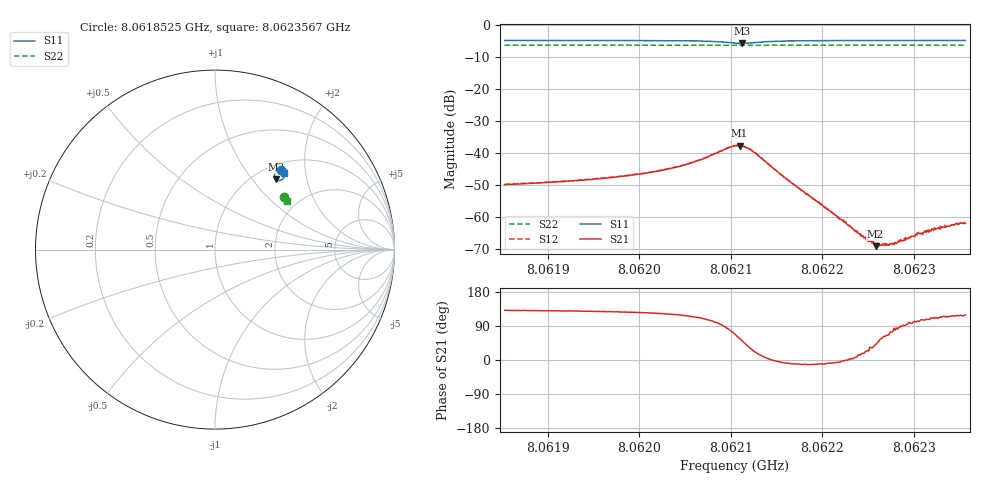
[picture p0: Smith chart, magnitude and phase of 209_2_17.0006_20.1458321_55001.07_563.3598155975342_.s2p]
#  HZ  S  RI  R  50.00
! Rohde & Schwarz Vector Network Analyzer
! Rohde-Schwarz,ZNB20-2Port,1311601062101988,3.16
! Created: UTC 3/20/2024, 11:01:23 PM
! freq[Hz]  re:S11  im:S11  re:S21  im:S21  re:S12  im:S12  re:S22  im:S22
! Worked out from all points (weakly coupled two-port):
!   401 points, 8.0618525 GHz to 8.0623567 GHz, reference 50 ohm
!   highest |S21| = -37.65 dB at 8.0621096 GHz (marker M1); lowest = -69.0 dB at 8.0622584 GHz (marker M2)
!   lowest |S11| = -5.7 dB at 8.0621122 GHz (marker M3), VSWR 3.15, Z = 62.2 + j66.5 ohm
!   |S11| at or under -10 dB: nowhere
!   |S22| runs from -6.3 to -6.3 dB; largest |S21 - S12| = 0.0011
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8.06185248e9  0.3671 0.4438  -0.00212 0.00242  -0.00198 0.00258  0.3868 0.2948
8.06193694e9  0.3734 0.4378  -0.00236 0.00296  -0.00224 0.00314  0.39 0.2907
8.0619861e9  0.3778 0.433  -0.00263 0.00355  -0.00241 0.00377  0.3915 0.2882
8.0620214e9  0.3814 0.4277  -0.00285 0.00444  -0.00261 0.00465  0.3928 0.2862
8.06206047e9  0.3853 0.4159  -0.00293 0.00672  -0.00253 0.00695  0.3939 0.284
8.06210459e9  0.3562 0.3849  0.00488 0.012  0.00558 0.0119  0.3936 0.2809
8.06210964e9  0.3454 0.388  0.0071 0.011  0.00804 0.0105  0.3934 0.2811
8.06211216e9  0.3404 0.3912  0.00808 0.0102  0.00883 0.00966  0.3933 0.281
8.06211972e9  0.3316 0.4053  0.0097 0.00666  0.0102 0.00601  0.3934 0.2815
8.06212728e9  0.3319 0.4196  0.00943 0.00338  0.00958 0.00276  0.3937 0.2819
8.06215628e9  0.3527 0.439  0.00444 -0.000517  0.00446 -0.000785  0.396 0.281
8.06218905e9  0.3656 0.4388  0.00194 -0.000405  0.00197 -0.000529  0.3976 0.2792
8.0622483e9  0.3762 0.4343  0.000413 0.000174  0.000436 0.000116  0.3998 0.276
8.06225838e9  0.3774 0.4337  0.000268 0.00023  0.000307 0.000241  0.4 0.2756
8.06226468e9  0.3781 0.4332  0.000203 0.000306  0.000232 0.000277  0.4003 0.2752
8.06227351e9  0.379 0.4327  0.000137 0.000351  0.000153 0.000332  0.4006 0.2747
8.06228107e9  0.3798 0.4321  3.5e-05 0.000387  8.66e-05 0.000374  0.4009 0.2745
8.06228863e9  0.3805 0.4316  -1.57e-05 0.000428  4.44e-05 0.000414  0.4011 0.2741
8.06230502e9  0.3819 0.4306  -0.000125 0.000568  -9.72e-05 0.000533  0.4017 0.2731
8.06232267e9  0.3835 0.4295  -0.000244 0.000593  -0.000241 0.000638  0.4022 0.2723
8.0623441e9  0.385 0.4282  -0.000322 0.000679  -0.000292 0.00069  0.403 0.2711
8.0623567e9  0.386 0.4275  -0.00039 0.00071  -0.000359 0.000759  0.4033 0.2706
